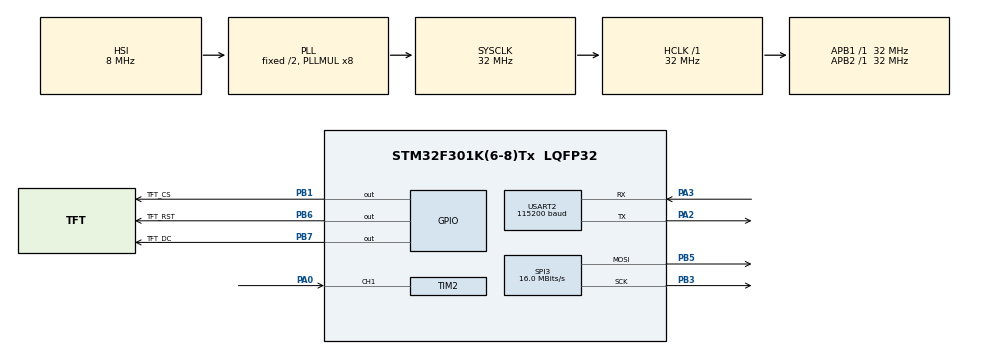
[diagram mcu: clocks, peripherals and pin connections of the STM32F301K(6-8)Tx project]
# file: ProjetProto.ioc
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Mcu.Family=STM32F3
Mcu.Name=STM32F301K(6-8)Tx
Mcu.Package=LQFP32
NVIC.PriorityGroup=NVIC_PRIORITYGROUP_4
NVIC.TIM2_IRQn=true\:0\:0\:false\:false\:true\:true\:true\:true
PA0.Signal=S_TIM2_CH1_ETR
PA2.Mode=Asynchronous
PA2.Signal=USART2_TX
PA3.Mode=Asynchronous
PA3.Signal=USART2_RX
PB1.GPIO_Label=TFT_CS
PB1.Signal=GPIO_Output
PB3.Mode=TX_Only_Simplex_Unidirect_Master
PB3.Signal=SPI3_SCK
PB5.Mode=TX_Only_Simplex_Unidirect_Master
PB5.Signal=SPI3_MOSI
PB6.GPIO_Label=TFT_RST
PB6.Signal=GPIO_Output
PB7.GPIO_Label=TFT_DC
PB7.Signal=GPIO_Output
ProjectManager.HeapSize=0x200
ProjectManager.StackSize=0x400
ProjectManager.TargetToolchain=STM32CubeIDE
RCC.AHBFreq_Value=32000000
RCC.APB1Freq_Value=32000000
RCC.APB1TimFreq_Value=32000000
RCC.APB2Freq_Value=32000000
RCC.APB2TimFreq_Value=32000000
RCC.CortexFreq_Value=32000000
RCC.HCLKFreq_Value=32000000
RCC.HSE_VALUE=8000000
RCC.HSI_VALUE=8000000
RCC.PLLMUL=RCC_PLL_MUL8
RCC.SYSCLKFreq_VALUE=32000000
RCC.SYSCLKSourceVirtual=RCC_SYSCLKSOURCE_PLLCLK
SH.S_TIM2_CH1_ETR.0=TIM2_CH1,Input_Capture1_from_TI1
SPI3.CalculateBaudRate=16.0 MBits/s
SPI3.Direction=SPI_DIRECTION_2LINES
SPI3.Mode=SPI_MODE_MASTER
SPI3.VirtualType=VM_MASTER
TIM2.AutoReloadPreload=TIM_AUTORELOAD_PRELOAD_ENABLE
TIM2.Channel-Input_Capture1_from_TI1=TIM_CHANNEL_1
USART2.BaudRate=115200
USART2.VirtualMode-Asynchronous=VM_ASYNC
VP_TIM2_VS_ClockSourceINT.Mode=Internal
board=custom

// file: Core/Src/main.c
/* USER CODE BEGIN Header */
/**
  ******************************************************************************
  * @file           : main.c
  * @brief          : Main program body - ALCOSONDE
  ******************************************************************************
  */
/* USER CODE END Header */
#include "main.h"

/* USER CODE BEGIN Includes */
#include <stdio.h>
#include <string.h>
#include "ili9341.h"
#include "fonts.h"
/* USER CODE END Includes */

/* USER CODE BEGIN PD */
#define F_CLK     32000000.0f  // Horloge du timer TIM2 [Hz]
#define K         4.55e-7f     // Constante du conditionneur : f = K / C  [F.Hz]
#define CP        8.50f         // Offset de calibration air/eau (capacite a eps_r=1) [pF]
#define PENTE     0.315f        // Pente de calibration air/eau [pF par unite de eps_r]
#define EPS_EAU   80.1f        // Permittivite a 0%vol (eau pure, Akerlof)
#define PENTE_ALC 1.54f        // calibration alcool : 0%=eau (eps_r 80,1), 33%=echantillon (eps_r 29,3)
#define NB_PLAGES 8            // Nombre de plages d'alcool selectionnables
#define N_MOY     16           // Nombre de mesures moyennees (moyenne glissante)
/* USER CODE END PD */

SPI_HandleTypeDef hspi3;
TIM_HandleTypeDef htim2;
UART_HandleTypeDef huart2;

/* USER CODE BEGIN PV */
volatile uint32_t ic_val1 = 0;        // capture precedente
volatile uint32_t ic_val2 = 0;        // capture courante
volatile uint32_t periode_ticks = 0;  // periode mesuree, en ticks d'horloge
char buffer[80];                      // chaine pour le port serie

// --- Moyenne glissante sur la periode (reduction du bruit) ---
uint32_t buf_periode[N_MOY] = {0};    // tampon circulaire des dernieres periodes
uint8_t  idx_moy = 0;                 // index courant dans le tampon
uint8_t  buf_rempli = 0;              // passe a 1 quand le tampon est plein

// --- Plages d'alcool selectionnables ---
uint8_t plage = 0;                                              // plage cible actuelle (0..NB_PLAGES-1)
const uint8_t plage_min[NB_PLAGES] = {0, 5, 10, 15, 20, 25, 30, 35};
const uint8_t plage_max[NB_PLAGES] = {5, 10, 15, 20, 25, 30, 35, 40};
uint32_t t_dernier_appui = 0;         // pour l'anti-rebond du bouton
uint8_t  bouton_precedent = 1;        // etat precedent du bouton (1 = relache)
/* USER CODE END PV */

void SystemClock_Config(void);
static void MX_GPIO_Init(void);
static void MX_TIM2_Init(void);
static void MX_USART2_UART_Init(void);
static void MX_SPI3_Init(void);

int main(void)
{

  /* MCU Configuration--------------------------------------------------------*/
		HAL_Init();

  SystemClock_Config();

  /* Initialize all configured peripherals */
  MX_GPIO_Init();
  MX_TIM2_Init();
  MX_USART2_UART_Init();
  MX_SPI3_Init();
  /* USER CODE BEGIN 2 */
  HAL_TIM_IC_Start_IT(&htim2, TIM_CHANNEL_1);

  // Reset manuel franc de l'ecran
  HAL_GPIO_WritePin(GPIOB, GPIO_PIN_6, GPIO_PIN_RESET);
  HAL_Delay(100);
  HAL_GPIO_WritePin(GPIOB, GPIO_PIN_6, GPIO_PIN_SET);
  HAL_Delay(100);

  ILI9341_Init();
  ILI9341_FillScreen(ILI9341_BLACK);

  // Decor fixe (dessine une seule fois)
  ILI9341_WriteString(50, 15,  "ALCOSONDE", Font_16x26, ILI9341_CYAN,  ILI9341_BLACK);
  ILI9341_WriteString(10, 80,  "Cible:",    Font_11x18, ILI9341_WHITE, ILI9341_BLACK);
  ILI9341_WriteString(10, 140, "Mesure:",   Font_11x18, ILI9341_WHITE, ILI9341_BLACK);

  // --- Buzzer sur PA8 ---
  GPIO_InitTypeDef GPIO_Buzzer = {0};
  GPIO_Buzzer.Pin = GPIO_PIN_8;
  GPIO_Buzzer.Mode = GPIO_MODE_OUTPUT_PP;
  GPIO_Buzzer.Pull = GPIO_NOPULL;
  GPIO_Buzzer.Speed = GPIO_SPEED_FREQ_LOW;
  HAL_GPIO_Init(GPIOA, &GPIO_Buzzer);

  // --- Melodie d'accueil (buzzer actif : 1 note, on joue sur le rythme) ---
  uint16_t melodie[]  = {80, 80, 80, 80, 250};
  uint16_t silences[] = {60, 60, 60, 120, 0};
  for (int i = 0; i < 5; i++)
  {
    HAL_GPIO_WritePin(GPIOA, GPIO_PIN_8, GPIO_PIN_SET);
    HAL_Delay(melodie[i]);
    HAL_GPIO_WritePin(GPIOA, GPIO_PIN_8, GPIO_PIN_RESET);
    HAL_Delay(silences[i]);
  }

  // --- Bouton poussoir sur PB0 (entree avec pull-up interne) ---
  GPIO_InitTypeDef GPIO_Bouton = {0};
  GPIO_Bouton.Pin = GPIO_PIN_0;
  GPIO_Bouton.Mode = GPIO_MODE_INPUT;
  GPIO_Bouton.Pull = GPIO_PULLUP;
  GPIO_Bouton.Speed = GPIO_SPEED_FREQ_LOW;
  HAL_GPIO_Init(GPIOB, &GPIO_Bouton);
  /* USER CODE END 2 */

  /* Infinite loop */
  while (1)
  {

    /* USER CODE BEGIN 3 */

      // ===== 1. BOUTON : passer a la plage suivante (anti-rebond 200 ms) =====
      uint8_t bouton = HAL_GPIO_ReadPin(GPIOB, GPIO_PIN_0);
      if (bouton_precedent == 1 && bouton == 0 && (HAL_GetTick() - t_dernier_appui > 200))
      {
        plage = (plage + 1) % NB_PLAGES;     // plage suivante (revient a 0 apres la derniere)
        t_dernier_appui = HAL_GetTick();
      }
      bouton_precedent = bouton;

      // ===== 2. AFFICHER la plage cible (seulement si elle a change) =====
      static uint8_t plage_prec = 255;
      if (plage != plage_prec)
      {
        char txt_cible[16];
        sprintf(txt_cible, "%u-%u%%   ", plage_min[plage], plage_max[plage]);
        ILI9341_WriteString(110, 76, txt_cible, Font_16x26, ILI9341_YELLOW, ILI9341_BLACK);
        plage_prec = plage;
      }

      // ===== 3. MESURE -> titre alcoometrique =====
      if (periode_ticks > 0)
            {
              // --- moyenne glissante de la periode pour reduire le bruit ---
              buf_periode[idx_moy] = periode_ticks;
              idx_moy = (idx_moy + 1) % N_MOY;
              if (idx_moy == 0) buf_rempli = 1;

              uint8_t n = buf_rempli ? N_MOY : idx_moy;   // nombre d'echantillons valides
              uint32_t somme = 0;
              for (uint8_t i = 0; i < n; i++) somme += buf_periode[i];
              float periode_moy = (float)somme / (float)n;

              float f = F_CLK / periode_moy;            // frequence [Hz] (moyennee)
              float C_tot = (K / f) * 1e12f;            // capacite totale [pF]
        float C_sonde = C_tot - CP;               // capacite sonde seule [pF]
        float eps_r = C_sonde / PENTE;            // permittivite relative
        float titre = (EPS_EAU - eps_r) / PENTE_ALC;   // titre [%vol] (loi Akerlof)
        if (titre < 0.0f)  titre = 0.0f;
        if (titre > 99.0f) titre = 99.0f;
        uint32_t titre_aff = (uint32_t)titre;

        // afficher la mesure (seulement si elle a change, pour eviter le clignotement)
        static uint32_t titre_prec = 9999;
        if (titre_aff != titre_prec)
        {
          char txt_mes[16];
          sprintf(txt_mes, "%lu%%   ", titre_aff);
          ILI9341_WriteString(120, 136, txt_mes, Font_16x26, ILI9341_WHITE, ILI9341_BLACK);
          titre_prec = titre_aff;
        }

        // dans la cible ? (etat memorise pour ne biper qu'une fois)
        static int8_t etat_prec = -1;
        if (titre >= (float)plage_min[plage] && titre < (float)plage_max[plage])
        {
          if (etat_prec != 1)   // on vient juste d'entrer dans la cible
          {
            ILI9341_WriteString(10, 210, "DANS LA CIBLE", Font_16x26, ILI9341_GREEN, ILI9341_BLACK);
            HAL_GPIO_WritePin(GPIOA, GPIO_PIN_8, GPIO_PIN_SET);   // bip de validation
            HAL_Delay(400);
            HAL_GPIO_WritePin(GPIOA, GPIO_PIN_8, GPIO_PIN_RESET);
            etat_prec = 1;
          }
        }
        else
        {
          if (etat_prec != 0)
          {
            ILI9341_WriteString(10, 210, "hors cible   ", Font_16x26, ILI9341_RED, ILI9341_BLACK);
            etat_prec = 0;
          }
        }

        // log complet sur le terminal serie (pour la calibration)
                uint32_t f_aff   = (uint32_t)f;
                uint32_t C_x10   = (uint32_t)(C_tot * 10.0f);    // capacite x10 pour 1 decimale
                uint32_t eps_x10 = (uint32_t)(eps_r * 10.0f);    // eps_r x10 pour 1 decimale

                int len = sprintf(buffer,
                      "f=%lu Hz | C=%lu.%lu pF | eps_r=%lu.%lu | titre=%lu %% | cible %u-%u %%\r\n",
                      f_aff, C_x10/10, C_x10%10, eps_x10/10, eps_x10%10,
                      titre_aff, plage_min[plage], plage_max[plage]);
                HAL_UART_Transmit(&huart2, (uint8_t*)buffer, len, 100);
      }

      HAL_Delay(120);   // ~8 lectures/seconde (assez reactif pour le bouton)
    /* USER CODE END 3 */
  }
}

void SystemClock_Config(void)
{
  RCC_OscInitTypeDef RCC_OscInitStruct = {0};
  RCC_ClkInitTypeDef RCC_ClkInitStruct = {0};

  RCC_OscInitStruct.OscillatorType = RCC_OSCILLATORTYPE_HSI;
  RCC_OscInitStruct.HSIState = RCC_HSI_ON;
  RCC_OscInitStruct.HSICalibrationValue = RCC_HSICALIBRATION_DEFAULT;
  RCC_OscInitStruct.PLL.PLLState = RCC_PLL_ON;
  RCC_OscInitStruct.PLL.PLLSource = RCC_PLLSOURCE_HSI;
  RCC_OscInitStruct.PLL.PLLMUL = RCC_PLL_MUL8;
  if (HAL_RCC_OscConfig(&RCC_OscInitStruct) != HAL_OK)
  {
    Error_Handler();
  }

  RCC_ClkInitStruct.ClockType = RCC_CLOCKTYPE_HCLK|RCC_CLOCKTYPE_SYSCLK
                              |RCC_CLOCKTYPE_PCLK1|RCC_CLOCKTYPE_PCLK2;
  RCC_ClkInitStruct.SYSCLKSource = RCC_SYSCLKSOURCE_PLLCLK;
  RCC_ClkInitStruct.AHBCLKDivider = RCC_SYSCLK_DIV1;
  RCC_ClkInitStruct.APB1CLKDivider = RCC_HCLK_DIV1;
  RCC_ClkInitStruct.APB2CLKDivider = RCC_HCLK_DIV1;

  if (HAL_RCC_ClockConfig(&RCC_ClkInitStruct, FLASH_LATENCY_1) != HAL_OK)
  {
    Error_Handler();
  }
}

static void MX_SPI3_Init(void)
{

  hspi3.Instance = SPI3;
  hspi3.Init.Mode = SPI_MODE_MASTER;
  hspi3.Init.Direction = SPI_DIRECTION_2LINES;
  hspi3.Init.DataSize = SPI_DATASIZE_8BIT;
  hspi3.Init.CLKPolarity = SPI_POLARITY_LOW;
  hspi3.Init.CLKPhase = SPI_PHASE_1EDGE;
  hspi3.Init.NSS = SPI_NSS_SOFT;
  hspi3.Init.BaudRatePrescaler = SPI_BAUDRATEPRESCALER_2;
  hspi3.Init.FirstBit = SPI_FIRSTBIT_MSB;
  hspi3.Init.TIMode = SPI_TIMODE_DISABLE;
  hspi3.Init.CRCCalculation = SPI_CRCCALCULATION_DISABLE;
  hspi3.Init.CRCPolynomial = 7;
  hspi3.Init.CRCLength = SPI_CRC_LENGTH_DATASIZE;
  hspi3.Init.NSSPMode = SPI_NSS_PULSE_ENABLE;
  if (HAL_SPI_Init(&hspi3) != HAL_OK)
  {
    Error_Handler();
  }
}

static void MX_TIM2_Init(void)
{

  TIM_ClockConfigTypeDef sClockSourceConfig = {0};
  TIM_MasterConfigTypeDef sMasterConfig = {0};
  TIM_IC_InitTypeDef sConfigIC = {0};

  htim2.Instance = TIM2;
  htim2.Init.Prescaler = 0;
  htim2.Init.CounterMode = TIM_COUNTERMODE_UP;
  htim2.Init.Period = 4294967295;
  htim2.Init.ClockDivision = TIM_CLOCKDIVISION_DIV1;
  htim2.Init.AutoReloadPreload = TIM_AUTORELOAD_PRELOAD_ENABLE;
  if (HAL_TIM_Base_Init(&htim2) != HAL_OK)
  {
    Error_Handler();
  }
  sClockSourceConfig.ClockSource = TIM_CLOCKSOURCE_INTERNAL;
  if (HAL_TIM_ConfigClockSource(&htim2, &sClockSourceConfig) != HAL_OK)
  {
    Error_Handler();
  }
  if (HAL_TIM_IC_Init(&htim2) != HAL_OK)
  {
    Error_Handler();
  }
  sMasterConfig.MasterOutputTrigger = TIM_TRGO_RESET;
  sMasterConfig.MasterSlaveMode = TIM_MASTERSLAVEMODE_DISABLE;
  if (HAL_TIMEx_MasterConfigSynchronization(&htim2, &sMasterConfig) != HAL_OK)
  {
    Error_Handler();
  }
  sConfigIC.ICPolarity = TIM_INPUTCHANNELPOLARITY_RISING;
  sConfigIC.ICSelection = TIM_ICSELECTION_DIRECTTI;
  sConfigIC.ICPrescaler = TIM_ICPSC_DIV1;
  sConfigIC.ICFilter = 0;
  if (HAL_TIM_IC_ConfigChannel(&htim2, &sConfigIC, TIM_CHANNEL_1) != HAL_OK)
  {
    Error_Handler();
  }
}

static void MX_USART2_UART_Init(void)
{

  huart2.Instance = USART2;
  huart2.Init.BaudRate = 115200;
  huart2.Init.WordLength = UART_WORDLENGTH_8B;
  huart2.Init.StopBits = UART_STOPBITS_1;
  huart2.Init.Parity = UART_PARITY_NONE;
  huart2.Init.Mode = UART_MODE_TX_RX;
  huart2.Init.HwFlowCtl = UART_HWCONTROL_NONE;
  huart2.Init.OverSampling = UART_OVERSAMPLING_16;
  huart2.Init.OneBitSampling = UART_ONE_BIT_SAMPLE_DISABLE;
  huart2.AdvancedInit.AdvFeatureInit = UART_ADVFEATURE_NO_INIT;
  if (HAL_UART_Init(&huart2) != HAL_OK)
  {
    Error_Handler();
  }
}

static void MX_GPIO_Init(void)
{
  GPIO_InitTypeDef GPIO_InitStruct = {0};

  /* GPIO Ports Clock Enable */
  __HAL_RCC_GPIOA_CLK_ENABLE();
  __HAL_RCC_GPIOB_CLK_ENABLE();

  /*Configure GPIO pin Output Level */
  HAL_GPIO_WritePin(GPIOB, TFT_CS_Pin|TFT_RST_Pin|TFT_DC_Pin, GPIO_PIN_RESET);

  /*Configure GPIO pins : TFT_CS_Pin TFT_RST_Pin TFT_DC_Pin */
  GPIO_InitStruct.Pin = TFT_CS_Pin|TFT_RST_Pin|TFT_DC_Pin;
  GPIO_InitStruct.Mode = GPIO_MODE_OUTPUT_PP;
  GPIO_InitStruct.Pull = GPIO_NOPULL;
  GPIO_InitStruct.Speed = GPIO_SPEED_FREQ_LOW;
  HAL_GPIO_Init(GPIOB, &GPIO_InitStruct);

}

/* USER CODE BEGIN 4 */
void HAL_TIM_IC_CaptureCallback(TIM_HandleTypeDef *htim)
{
  if (htim->Instance == TIM2)
  {
    ic_val2 = HAL_TIM_ReadCapturedValue(htim, TIM_CHANNEL_1);
    periode_ticks = ic_val2 - ic_val1;  // soustraction non signee : gere le debordement 32 bits
    ic_val1 = ic_val2;
  }
}
/* USER CODE END 4 */

void Error_Handler(void)
{
  __disable_irq();
  while (1)
  {
  }
}
